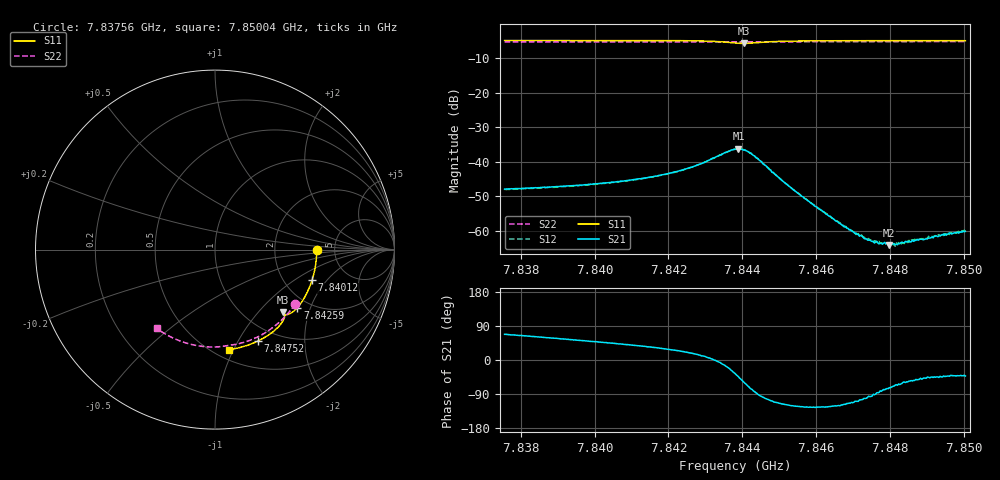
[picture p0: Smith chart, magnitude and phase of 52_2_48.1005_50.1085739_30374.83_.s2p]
#  HZ  S  RI  R  50.00
! Rohde & Schwarz Vector Network Analyzer
! Rohde-Schwarz,ZNB20-2Port,1311601062101988,3.16
! Created: UTC 12/23/2023, 3:39:51 AM
! freq[Hz]  re:S11  im:S11  re:S21  im:S21  re:S12  im:S12  re:S22  im:S22
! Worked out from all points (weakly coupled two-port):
!   401 points, 7.83756 GHz to 7.85004 GHz, reference 50 ohm
!   highest |S21| = -36.22 dB at 7.8439 GHz (marker M1); lowest = -64.1 dB at 7.84798 GHz (marker M2)
!   lowest |S11| = -5.8 dB at 7.84405 GHz (marker M3), VSWR 3.11, Z = 72 - j68.5 ohm
!   |S11| at or under -10 dB: nowhere
!   |S22| runs from -5.4 to -5.3 dB; largest |S21 - S12| = 0.00028
!   S11 on the Smith chart (normalised r, x): 7.83756 GHz: 3.61, -0.03; 7.84012 GHz: 2.82, -1.42; 7.84259 GHz: 1.73, -1.63; 7.84752 GHz: 0.82, -1.22; 7.85004 GHz: 0.59, -0.96
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7.837563e9  0.5666 -0.00239  0.00152 0.00372  0.00151 0.00367  0.4463 -0.3038
7.839653e9  0.5495 -0.1406  0.00288 0.00357  0.00284 0.00355  0.3489 -0.413
7.840122e9  0.5407 -0.1709  0.00328 0.00355  0.00324 0.00353  0.3235 -0.4335
7.840933e9  0.5211 -0.2225  0.00413 0.00347  0.00407 0.00347  0.2763 -0.4653
7.841744e9  0.4953 -0.2727  0.00541 0.00332  0.00534 0.00331  0.2259 -0.492
7.842586e9  0.4595 -0.3228  0.00778 0.00267  0.00777 0.00264  0.1706 -0.5138
7.843335e9  0.4123 -0.3589  0.0121 -0.000893  0.012 -0.000738  0.1196 -0.5271
7.843803e9  0.379 -0.3578  0.0123 -0.00881  0.0123 -0.00883  0.0883 -0.5319
7.843897e9  0.376 -0.3545  0.0111 -0.0107  0.011 -0.0106  0.0825 -0.5327
7.844053e9  0.3766 -0.3497  0.00745 -0.0128  0.00762 -0.0128  0.0727 -0.534
7.844365e9  0.3863 -0.357  0.000791 -0.0115  0.000873 -0.0116  0.0526 -0.5376
7.845145e9  0.3708 -0.4098  -0.00229 -0.00444  -0.00229 -0.00447  -0.00196 -0.5429
7.845894e9  0.3334 -0.4494  -0.0014 -0.00202  -0.00138 -0.00204  -0.055 -0.5408
7.846705e9  0.2878 -0.4828  -0.000574 -0.00106  -0.000619 -0.00108  -0.1115 -0.5328
7.847048e9  0.2675 -0.4947  -0.000298 -0.000868  -0.000353 -0.000878  -0.1351 -0.5275
7.847516e9  0.2395 -0.5095  -6.89e-05 -0.000701  -1.92e-05 -0.00073  -0.1667 -0.5187
7.847735e9  0.226 -0.5156  9.8e-05 -0.000655  7.99e-05 -0.000652  -0.1812 -0.5139
7.847984e9  0.2105 -0.5222  0.000183 -0.000597  0.000177 -0.000598  -0.1977 -0.508
7.848328e9  0.189 -0.5304  0.000325 -0.000603  0.000305 -0.000607  -0.22 -0.4989
7.84864e9  0.1692 -0.537  0.000417 -0.00057  0.000444 -0.000584  -0.2399 -0.4897
7.849576e9  0.1087 -0.5523  0.000668 -0.000604  0.0007 -0.000601  -0.2972 -0.4578
7.850044e9  0.078 -0.5572  0.000727 -0.00066  0.000731 -0.000654  -0.3243 -0.4394
